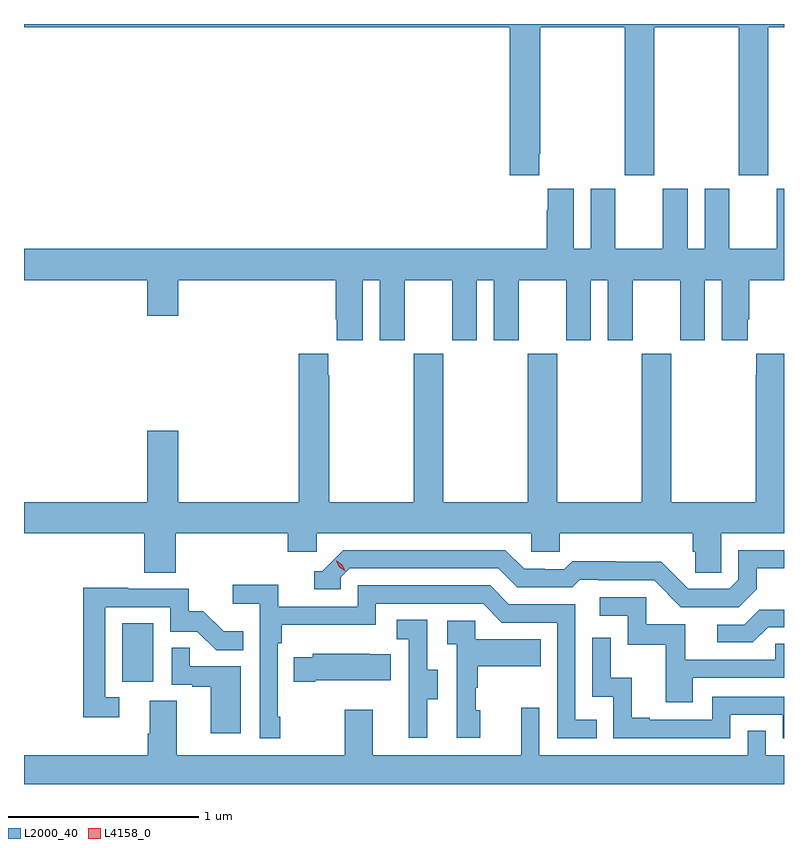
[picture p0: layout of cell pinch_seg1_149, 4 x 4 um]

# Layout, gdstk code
import gdstk
lib = gdstk.Library(unit=1e-6, precision=1e-09)
def R(c, l, rs):  # rectangles x0, y0, x1, y1
    for r in rs: c.add(gdstk.rectangle(r[:2], r[2:], *l))
def P(c, l, *ps):  # polygons
    for p in ps: c.add(gdstk.Polygon(p, *l))
L2000_40 = (2000, 40)
L4158_0 = (4158, 0)

pinch_seg1_149 = lib.new_cell('pinch_seg1_149')
R(pinch_seg1_149, L2000_40, [(1141.898,542.958,1142.062,543.265)])
P(pinch_seg1_149, L2000_40, [(1144.093,545.737),(1144.098,545.737),(1144.098,546.404),(1144.543,546.404),(1144.543,545.625),(1144.698,545.625),(1144.698,546.404),(1145.143,546.404),(1145.143,545.625),(1145.298,545.625),(1145.298,546.404),(1145.382,546.404),(1145.382,546.42),(1141.382,546.42),(1141.382,546.404),(1143.938,546.404),(1143.938,545.625),(1144.093,545.625)],
  [(1143.166,545.072),(1143.254,545.072),(1143.254,544.755),(1143.385,544.755),(1143.385,545.072),(1143.635,545.072),(1143.635,544.755),(1143.766,544.755),(1143.766,545.072),(1143.854,545.072),(1143.854,544.755),(1143.985,544.755),(1143.985,545.072),(1144.235,545.072),(1144.235,544.755),(1144.366,544.755),(1144.366,545.072),(1144.454,545.072),(1144.454,544.755),(1144.585,544.755),(1144.585,545.072),(1144.835,545.072),(1144.835,544.755),(1144.966,544.755),(1144.966,545.072),(1145.054,545.072),(1145.054,544.755),(1145.191,544.755),(1145.191,544.867),(1145.198,544.867),(1145.198,545.072),(1145.382,545.072),(1145.382,545.554),(1145.345,545.554),(1145.345,545.236),(1145.095,545.236),(1145.095,545.554),(1144.964,545.554),(1144.964,545.236),(1144.876,545.236),(1144.876,545.554),(1144.745,545.554),(1144.745,545.236),(1144.495,545.236),(1144.495,545.554),(1144.364,545.554),(1144.364,545.236),(1144.276,545.236),(1144.276,545.554),(1144.139,545.554),(1144.139,545.441),(1144.133,545.441),(1144.133,545.236),(1141.382,545.236),(1141.382,545.072),(1142.03,545.072),(1142.03,544.884),(1142.194,544.884),(1142.194,545.072),(1143.023,545.072),(1143.023,544.867),(1143.029,544.867),(1143.029,544.755),(1143.166,544.755)],
  [(1142.18,543.74),(1142.771,543.74),(1142.771,543.642),(1142.922,543.642),(1142.922,543.74),(1144.053,543.74),(1144.053,543.642),(1144.203,543.642),(1144.203,543.74),(1144.901,543.74),(1144.901,543.642),(1144.915,543.642),(1144.915,543.532),(1145.052,543.532),(1145.052,543.74),(1145.382,543.74),(1145.382,544.684),(1145.237,544.684),(1145.237,544.571),(1145.233,544.571),(1145.233,543.904),(1144.788,543.904),(1144.788,544.684),(1144.633,544.684),(1144.633,543.904),(1144.188,543.904),(1144.188,544.684),(1144.033,544.684),(1144.033,543.904),(1143.588,543.904),(1143.588,544.684),(1143.433,544.684),(1143.433,543.904),(1142.988,543.904),(1142.988,544.571),(1142.983,544.571),(1142.983,544.684),(1142.828,544.684),(1142.828,543.904),(1142.194,543.904),(1142.194,544.279),(1142.03,544.279),(1142.03,543.904),(1141.382,543.904),(1141.382,543.74),(1142.015,543.74),(1142.015,543.532),(1142.18,543.532)],
  [(1145.239,543.445),(1145.239,543.555),(1145.382,543.555),(1145.382,543.651),(1145.142,543.651),(1145.142,543.495),(1145.094,543.447),(1144.878,543.447),(1144.736,543.589),(1144.5,543.589),(1144.5,543.592),(1144.267,543.592),(1144.225,543.549),(1144.122,543.549),(1144.122,543.552),(1144.015,543.552),(1143.916,543.651),(1143.063,543.651),(1142.952,543.54),(1142.909,543.54),(1142.909,543.444),(1143.048,543.444),(1143.048,543.507),(1143.096,543.555),(1143.879,543.555),(1143.978,543.456),(1144.267,543.456),(1144.306,543.495),(1144.405,543.495),(1144.405,543.492),(1144.698,543.492),(1144.839,543.351),(1145.145,543.351)],
  [(1142.731,542.773),(1142.718,542.773),(1142.718,543.161),(1142.738,543.161),(1142.738,543.257),(1143.234,543.257),(1143.234,543.369),(1143.798,543.369),(1143.897,543.27),(1144.188,543.27),(1144.188,542.661),(1144.397,542.661),(1144.397,542.757),(1144.284,542.757),(1144.284,543.366),(1143.934,543.366),(1143.835,543.465),(1143.138,543.465),(1143.138,543.354),(1142.72,543.354),(1142.72,543.47),(1142.481,543.47),(1142.481,543.368),(1142.622,543.368),(1142.622,542.661),(1142.731,542.661)],
  [(1141.882,542.877),(1141.809,542.877),(1141.809,543.351),(1142.151,543.351),(1142.151,543.222),(1142.295,543.222),(1142.393,543.124),(1142.537,543.124),(1142.537,543.223),(1142.433,543.223),(1142.326,543.33),(1142.25,543.33),(1142.25,543.447),(1141.931,543.447),(1141.931,543.452),(1141.693,543.452),(1141.693,542.772),(1141.882,542.772)],
  [(1144.903,542.979),(1145.382,542.979),(1145.382,543.159),(1145.335,543.159),(1145.335,543.075),(1144.861,543.075),(1144.861,543.261),(1144.656,543.261),(1144.656,543.402),(1144.413,543.402),(1144.413,543.306),(1144.56,543.306),(1144.56,543.153),(1144.759,543.153),(1144.759,542.85),(1144.903,542.85)],
  [(1145.299,543.246),(1145.382,543.246),(1145.382,543.338),(1145.252,543.338),(1145.172,543.258),(1145.031,543.258),(1145.031,543.165),(1145.218,543.165)],
  [(1143.505,542.866),(1143.559,542.866),(1143.559,543.021),(1143.504,543.021),(1143.504,543.284),(1143.345,543.284),(1143.345,543.181),(1143.408,543.181),(1143.408,542.877),(1143.407,542.877),(1143.407,542.664),(1143.505,542.664)],
  [(1143.784,542.808),(1143.759,542.808),(1143.759,542.927),(1143.769,542.927),(1143.769,543.041),(1144.103,543.041),(1144.103,543.181),(1143.756,543.181),(1143.756,543.279),(1143.609,543.279),(1143.609,543.155),(1143.66,543.155),(1143.66,542.664),(1143.784,542.664)],
  [(1145.1,542.784),(1145.376,542.784),(1145.376,542.661),(1145.382,542.661),(1145.382,542.88),(1145.004,542.88),(1145.004,542.757),(1144.675,542.757),(1144.675,542.77),(1144.58,542.77),(1144.58,542.978),(1144.47,542.978),(1144.47,543.19),(1144.374,543.19),(1144.374,542.88),(1144.482,542.88),(1144.482,542.661),(1145.1,542.661)],
  [(1142.524,543.039),(1142.255,543.039),(1142.255,543.137),(1142.16,543.137),(1142.16,542.943),(1142.267,542.943),(1142.267,542.931),(1142.366,542.931),(1142.366,542.688),(1142.524,542.688)],
  [(1142.914,542.966),(1143.311,542.966),(1143.311,543.103),(1143.203,543.103),(1143.203,543.106),(1142.901,543.106),(1142.901,543.088),(1142.803,543.088),(1142.803,542.959),(1142.914,542.959)],
  [(1145.382,542.572),(1145.286,542.572),(1145.286,542.699),(1145.19,542.699),(1145.19,542.572),(1144.095,542.572),(1144.095,542.821),(1143.998,542.821),(1143.998,542.572),(1143.217,542.572),(1143.217,542.812),(1143.07,542.812),(1143.07,542.572),(1142.185,542.572),(1142.185,542.858),(1142.045,542.858),(1142.045,542.684),(1142.033,542.684),(1142.033,542.572),(1141.382,542.572),(1141.382,542.42),(1145.382,542.42)])
P(pinch_seg1_149, L4158_0, [(1143.072,543.541),(1143.042,543.561),(1143.026,543.594),(1143.026,543.594),(1143.027,543.594),(1143.057,543.574),(1143.072,543.542),(1143.072,543.541)])

lib.write_gds('pinch_seg1_149.gds')
